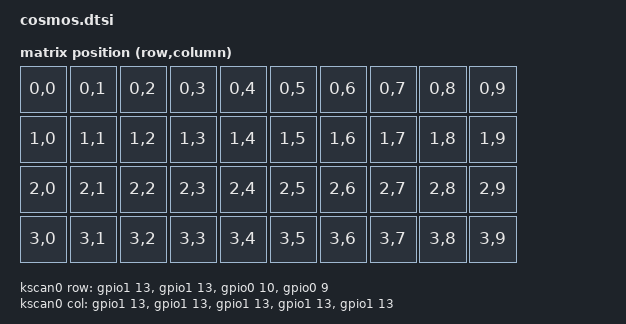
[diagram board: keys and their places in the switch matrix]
/*
 * Copyright (c) 2020 The ZMK Contributors
 *
 * SPDX-License-Identifier: MIT
 */

#include <dt-bindings/zmk/matrix_transform.h>
#include "cosmos-layout.dtsi"

&physical_layout0 {
    transform = <&default_transform>;
};

/ {
    chosen {
        zmk,kscan = &kscan0;
        zmk,physical-layout = &physical_layout0;
    };

    default_transform: keymap_transform_0 {
        compatible = "zmk,matrix-transform";
        columns = <10>;
        rows = <4>;
        map = <
        RC(0,0) RC(0,1) RC(0,2) RC(0,3) RC(0,4)    RC(0,5) RC(0,6) RC(0,7) RC(0,8) RC(0,9)
        RC(1,0) RC(1,1) RC(1,2) RC(1,3) RC(1,4)    RC(1,5) RC(1,6) RC(1,7) RC(1,8) RC(1,9)
        RC(2,0) RC(2,1) RC(2,2) RC(2,3) RC(2,4)    RC(2,5) RC(2,6) RC(2,7) RC(2,8) RC(2,9)
        RC(3,0) RC(3,1) RC(3,2) RC(3,3) RC(3,4)    RC(3,5) RC(3,6) RC(3,7) RC(3,8) RC(3,9)
        >;
    };

    kscan0: kscan {
        compatible = "zmk,kscan-gpio-matrix";
        diode-direction = "col2row";
        wakeup-source;
        row-gpios
            = <&gpio1 13 (GPIO_ACTIVE_HIGH | GPIO_PULL_DOWN)> // Row 0
            , <&gpio1 13 (GPIO_ACTIVE_HIGH | GPIO_PULL_DOWN)> // Row 1
            , <&gpio0 10 (GPIO_ACTIVE_HIGH | GPIO_PULL_DOWN)> // Row 2
            , <&gpio0 9 (GPIO_ACTIVE_HIGH | GPIO_PULL_DOWN)> // Row 3
            ;
        col-gpios
            = <&gpio1 13 (GPIO_ACTIVE_LOW | GPIO_PULL_UP)> // Col 0
            , <&gpio1 13 (GPIO_ACTIVE_LOW | GPIO_PULL_UP)> // Col 1
            , <&gpio1 13 (GPIO_ACTIVE_LOW | GPIO_PULL_UP)> // Col 2
            , <&gpio1 13 (GPIO_ACTIVE_LOW | GPIO_PULL_UP)> // Col 3
            , <&gpio1 13 (GPIO_ACTIVE_LOW | GPIO_PULL_UP)> // Col 4
            ;
    };
};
